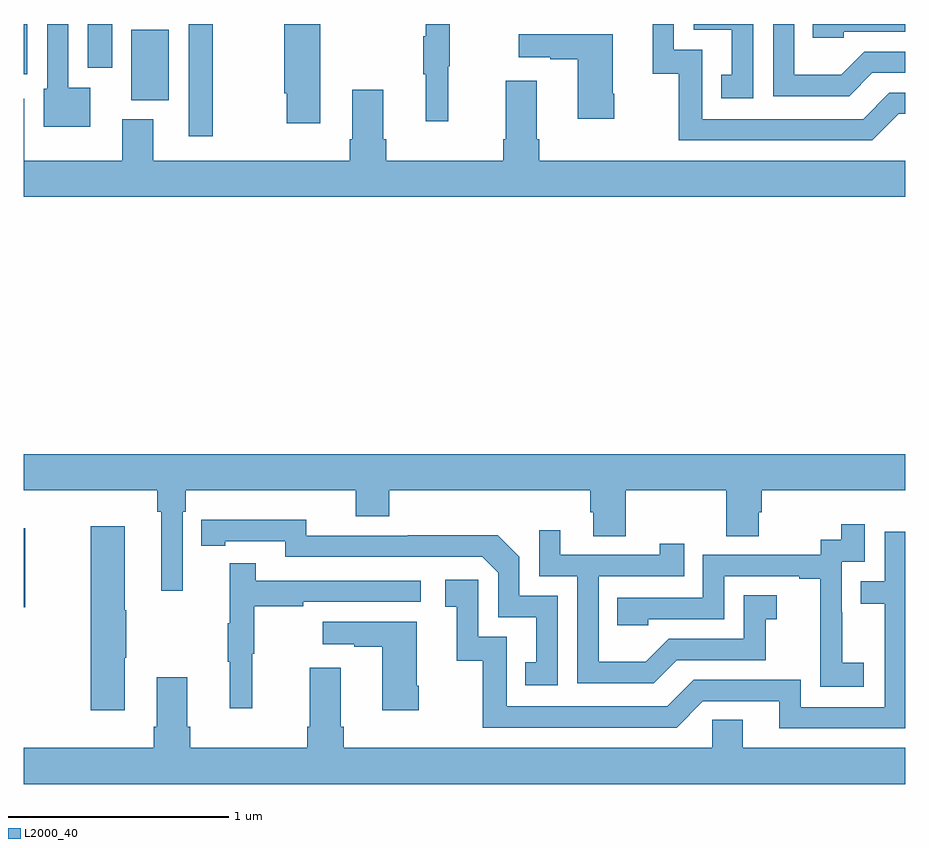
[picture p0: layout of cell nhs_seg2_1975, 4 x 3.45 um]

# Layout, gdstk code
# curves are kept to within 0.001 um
import gdstk
lib = gdstk.Library(unit=1e-6, precision=1e-09)
def R(c, l, rs):  # rectangles x0, y0, x1, y1
    for r in rs: c.add(gdstk.rectangle(r[:2], r[2:], *l))
def P(c, l, *ps):  # polygons
    for p in ps: c.add(gdstk.Polygon(p, *l))
L2000_40 = (2000, 40)

nhs_seg2_1975 = lib.new_cell('nhs_seg2_1975')
R(nhs_seg2_1975, L2000_40, [(215,599.154,215.008,599.512), (215.748,601.29,215.857,601.8), (215.489,601.454,215.659,601.774), (215,601.571,215.017,601.8), (215.291,601.602,215.401,601.8)])
P(nhs_seg2_1975, L2000_40, [(218.97,601.392),(219,601.392),(219,601.488),(218.928,601.488),(218.808,601.368),(218.079,601.368),(218.079,601.683),(217.95,601.683),(217.95,601.8),(217.853,601.8),(217.853,601.575),(217.971,601.575),(217.971,601.272),(218.85,601.272)],
  [(218.851,601.578),(219,601.578),(219,601.674),(218.814,601.674),(218.71,601.57),(218.496,601.57),(218.496,601.8),(218.4,601.8),(218.4,601.473),(218.746,601.473)],
  [(216.346,601.8),(216.182,601.8),(216.182,601.485),(216.193,601.485),(216.193,601.35),(216.346,601.35)],
  [(215.302,601.51),(215.202,601.51),(215.202,601.8),(215.106,601.8),(215.106,601.506),(215.09,601.506),(215.09,601.334),(215.302,601.334)],
  [(218.721,601.764),(219,601.764),(219,601.8),(218.581,601.8),(218.581,601.737),(218.721,601.737)],
  [(216.926,601.608),(216.934,601.608),(216.934,601.8),(216.824,601.8),(216.824,601.745),(216.813,601.745),(216.813,601.571),(216.824,601.571),(216.824,601.359),(216.926,601.359)],
  [(218.31,601.8),(218.04,601.8),(218.04,601.773),(218.213,601.773),(218.213,601.569),(218.164,601.569),(218.164,601.464),(218.31,601.464)],
  [(217.68,601.483),(217.672,601.483),(217.672,601.753),(217.245,601.753),(217.245,601.649),(217.388,601.649),(217.388,601.639),(217.514,601.639),(217.514,601.371),(217.68,601.371)],
  [(219,601.18),(217.34,601.18),(217.34,601.276),(217.327,601.276),(217.327,601.543),(217.187,601.543),(217.187,601.276),(217.175,601.276),(217.175,601.18),(216.644,601.18),(216.644,601.276),(216.631,601.276),(216.631,601.501),(216.491,601.501),(216.491,601.276),(216.479,601.276),(216.479,601.18),(215.587,601.18),(215.587,601.369),(215.447,601.369),(215.447,601.18),(215.002,601.18),(215.002,601.462),(215,601.462),(215,601.016),(219,601.016)],
  [(215.721,599.588),(215.735,599.588),(215.735,599.684),(216.506,599.684),(216.506,599.567),(216.659,599.567),(216.659,599.684),(217.571,599.684),(217.571,599.586),(217.583,599.586),(217.583,599.476),(217.731,599.476),(217.731,599.684),(218.188,599.684),(218.188,599.476),(218.335,599.476),(218.335,599.586),(218.348,599.586),(218.348,599.684),(219,599.684),(219,599.848),(215,599.848),(215,599.684),(215.605,599.684),(215.605,599.588),(215.624,599.588),(215.624,599.229),(215.721,599.229)],
  [(217.422,599.205),(217.248,599.205),(217.248,599.382),(217.15,599.48),(216.742,599.48),(216.742,599.478),(216.282,599.478),(216.282,599.551),(215.806,599.55),(215.806,599.434),(215.914,599.434),(215.914,599.454),(216.186,599.454),(216.186,599.382),(217.08,599.382),(217.152,599.31),(217.152,599.109),(217.325,599.109),(217.325,598.905),(217.276,598.905),(217.276,598.8),(217.422,598.8)],
  [(218.812,598.903),(218.714,598.903),(218.714,599.132),(218.712,599.132),(218.712,599.361),(218.817,599.361),(218.817,599.53),(218.709,599.53),(218.709,599.46),(218.616,599.46),(218.616,599.391),(218.082,599.391),(218.082,599.196),(217.693,599.196),(217.693,599.073),(217.833,599.073),(217.833,599.1),(218.178,599.1),(218.178,599.295),(218.519,599.295),(218.519,599.283),(218.615,599.283),(218.615,598.999),(218.614,598.999),(218.614,598.793),(218.812,598.793)],
  [(215.458,598.924),(215.466,598.924),(215.466,599.141),(215.458,599.141),(215.458,599.521),(215.305,599.521),(215.305,598.686),(215.458,598.686)],
  [(217.963,598.914),(218.367,598.914),(218.367,599.099),(218.416,599.099),(218.416,599.209),(218.268,599.209),(218.268,599.01),(217.926,599.01),(217.822,598.906),(217.608,598.906),(217.608,599.295),(217.997,599.295),(217.997,599.443),(217.886,599.443),(217.886,599.391),(217.435,599.391),(217.435,599.503),(217.338,599.503),(217.338,599.295),(217.512,599.295),(217.512,598.809),(217.858,598.809)],
  [(219,599.496),(218.907,599.496),(218.907,599.271),(218.797,599.271),(218.797,599.17),(218.907,599.17),(218.907,598.701),(218.526,598.701),(218.526,598.824),(218.04,598.824),(217.92,598.704),(217.191,598.704),(217.191,599.019),(217.062,599.019),(217.062,599.278),(216.912,599.278),(216.912,599.157),(216.965,599.157),(216.965,598.911),(217.083,598.911),(217.083,598.608),(217.962,598.608),(218.082,598.728),(218.429,598.728),(218.429,598.605),(219,598.605)],
  [(216.038,598.944),(216.046,598.944),(216.046,599.158),(216.269,599.158),(216.269,599.178),(216.802,599.178),(216.802,599.274),(216.053,599.274),(216.053,599.353),(215.936,599.353),(215.936,599.081),(215.925,599.081),(215.925,598.907),(215.936,598.907),(215.936,598.695),(216.038,598.695)],
  [(216.792,598.798),(216.784,598.798),(216.784,599.089),(216.357,599.089),(216.357,598.985),(216.5,598.985),(216.5,598.975),(216.626,598.975),(216.626,598.686),(216.792,598.686)],
  [(219,598.516),(218.263,598.516),(218.263,598.643),(218.124,598.643),(218.124,598.516),(216.452,598.516),(216.452,598.612),(216.439,598.612),(216.439,598.879),(216.299,598.879),(216.299,598.612),(216.287,598.612),(216.287,598.516),(215.756,598.516),(215.756,598.612),(215.743,598.612),(215.743,598.837),(215.603,598.837),(215.603,598.612),(215.591,598.612),(215.591,598.516),(215,598.516),(215,598.352),(219,598.352)])

lib.write_gds('nhs_seg2_1975.gds')
